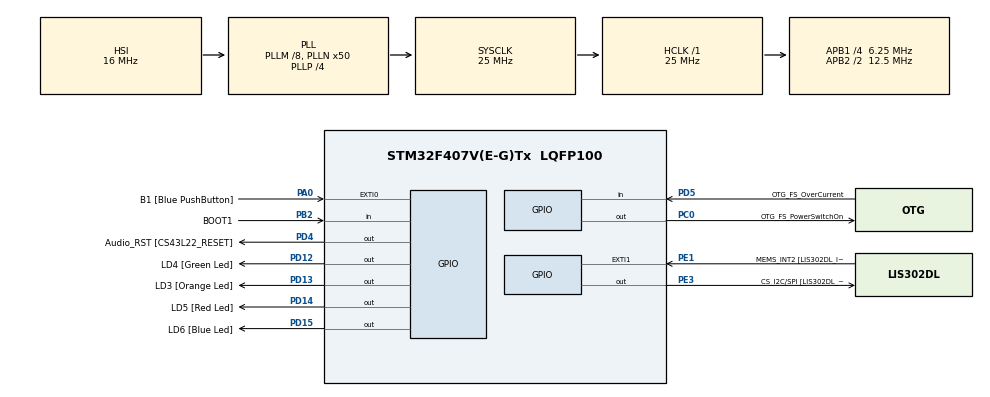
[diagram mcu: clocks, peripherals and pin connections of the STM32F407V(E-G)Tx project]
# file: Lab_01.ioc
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Mcu.Family=STM32F4
Mcu.Name=STM32F407V(E-G)Tx
Mcu.Package=LQFP100
NVIC.PriorityGroup=NVIC_PRIORITYGROUP_0
PA0-WKUP.GPIO_Label=B1 [Blue PushButton]
PA0-WKUP.Signal=GPXTI0
PA10.GPIO_Label=OTG_FS_ID
PA10.GPIO_Mode=GPIO_MODE_AF_PP
PA10.GPIO_PuPd=GPIO_NOPULL
PA10.GPIO_Speed=GPIO_SPEED_FREQ_LOW
PA10.Signal=USB_OTG_FS_ID
PA11.GPIO_Label=OTG_FS_DM
PA11.GPIO_Mode=GPIO_MODE_AF_PP
PA11.GPIO_PuPd=GPIO_NOPULL
PA11.GPIO_Speed=GPIO_SPEED_FREQ_LOW
PA11.Signal=USB_OTG_FS_DM
PA12.GPIO_Label=OTG_FS_DP
PA12.GPIO_Mode=GPIO_MODE_AF_PP
PA12.GPIO_PuPd=GPIO_NOPULL
PA12.GPIO_Speed=GPIO_SPEED_FREQ_LOW
PA12.Signal=USB_OTG_FS_DP
PA13.GPIO_Label=SWDIO
PA13.Signal=SYS_JTMS-SWDIO
PA14.GPIO_Label=SWCLK
PA14.Signal=SYS_JTCK-SWCLK
PA4.GPIO_Label=I2S3_WS [CS43L22_LRCK]
PA4.GPIO_Mode=GPIO_MODE_AF_PP
PA4.GPIO_PuPd=GPIO_NOPULL
PA4.GPIO_Speed=GPIO_SPEED_FREQ_LOW
PA4.Signal=I2S3_WS
PA5.GPIO_Label=SPI1_SCK [LIS302DL_SCL/SPC]
PA5.GPIO_Mode=GPIO_MODE_AF_PP
PA5.GPIO_PuPd=GPIO_NOPULL
PA5.GPIO_Speed=GPIO_SPEED_FREQ_LOW
PA5.Signal=SPI1_SCK
PA6.GPIO_Label=SPI1_MISO [LIS302DL_SDO]
PA6.GPIO_Mode=GPIO_MODE_AF_PP
PA6.GPIO_PuPd=GPIO_NOPULL
PA6.GPIO_Speed=GPIO_SPEED_FREQ_LOW
PA6.Signal=SPI1_MISO
PA7.GPIO_Label=SPI1_MOSI [LIS302DL_SDA/SDI/SDO]
PA7.GPIO_Mode=GPIO_MODE_AF_PP
PA7.GPIO_PuPd=GPIO_NOPULL
PA7.GPIO_Speed=GPIO_SPEED_FREQ_LOW
PA7.Signal=SPI1_MOSI
PA9.GPIO_Label=VBUS_FS
PA9.GPIO_Mode=GPIO_MODE_INPUT
PA9.GPIO_PuPd=GPIO_NOPULL
PA9.Signal=USB_OTG_FS_VBUS
PB10.GPIO_Label=CLK_IN [MP45DT02_CLK]
PB10.GPIO_Mode=GPIO_MODE_AF_PP
PB10.GPIO_PuPd=GPIO_NOPULL
PB10.GPIO_Speed=GPIO_SPEED_FREQ_LOW
PB10.Signal=I2S2_CK
PB2.GPIO_Label=BOOT1
PB2.GPIO_Mode=GPIO_MODE_INPUT
PB2.GPIO_PuPd=GPIO_NOPULL
PB2.Signal=GPIO_Input
PB3.GPIO_Label=SWO
PB3.Signal=SYS_JTDO-SWO
PB6.GPIO_Label=Audio_SCL [CS43L22_SCL]
PB6.GPIO_Mode=GPIO_MODE_AF_OD
PB6.GPIO_PuPd=GPIO_NOPULL
PB6.GPIO_Speed=GPIO_SPEED_FREQ_LOW
PB6.Signal=I2C1_SCL
PB9.GPIO_Label=Audio_SDA [CS43L22_SDA]
PB9.GPIO_Mode=GPIO_MODE_AF_OD
PB9.GPIO_PuPd=GPIO_NOPULL
PB9.GPIO_Speed=GPIO_SPEED_FREQ_LOW
PB9.Signal=I2C1_SDA
PC0.GPIO_Label=OTG_FS_PowerSwitchOn
PC0.GPIO_PuPd=GPIO_NOPULL
PC0.GPIO_Speed=GPIO_SPEED_FREQ_LOW
PC0.PinState=GPIO_PIN_SET
PC0.Signal=GPIO_Output
PC10.GPIO_Label=I2S3_SCK [CS43L22_SCLK]
PC10.GPIO_Mode=GPIO_MODE_AF_PP
PC10.GPIO_PuPd=GPIO_NOPULL
PC10.GPIO_Speed=GPIO_SPEED_FREQ_LOW
PC10.Signal=I2S3_CK
PC12.GPIO_Label=I2S3_SD [CS43L22_SDIN]
PC12.GPIO_Mode=GPIO_MODE_AF_PP
PC12.GPIO_PuPd=GPIO_NOPULL
PC12.GPIO_Speed=GPIO_SPEED_FREQ_LOW
PC12.Signal=I2S3_SD
PC14-OSC32_IN.GPIO_Label=PC14-OSC32_IN
PC14-OSC32_IN.Signal=RCC_OSC32_IN
PC15-OSC32_OUT.GPIO_Label=PC15-OSC32_OUT
PC15-OSC32_OUT.Signal=RCC_OSC32_OUT
PC3.GPIO_Label=PDM_OUT [MP45DT02_DOUT]
PC3.GPIO_Mode=GPIO_MODE_AF_PP
PC3.GPIO_PuPd=GPIO_NOPULL
PC3.GPIO_Speed=GPIO_SPEED_FREQ_LOW
PC3.Signal=I2S2_SD
PC7.GPIO_Label=I2S3_MCK [CS43L22_MCLK]
PC7.GPIO_Mode=GPIO_MODE_AF_PP
PC7.GPIO_PuPd=GPIO_NOPULL
PC7.GPIO_Speed=GPIO_SPEED_FREQ_LOW
PC7.Signal=I2S3_MCK
PD12.GPIO_Label=LD4 [Green Led]
PD12.GPIO_PuPd=GPIO_NOPULL
PD12.GPIO_Speed=GPIO_SPEED_FREQ_LOW
PD12.Signal=GPIO_Output
PD13.GPIO_Label=LD3 [Orange Led]
PD13.GPIO_PuPd=GPIO_NOPULL
PD13.GPIO_Speed=GPIO_SPEED_FREQ_LOW
PD13.Signal=GPIO_Output
PD14.GPIO_Label=LD5 [Red Led]
PD14.GPIO_PuPd=GPIO_NOPULL
PD14.GPIO_Speed=GPIO_SPEED_FREQ_LOW
PD14.Signal=GPIO_Output
PD15.GPIO_Label=LD6 [Blue Led]
PD15.GPIO_PuPd=GPIO_NOPULL
PD15.GPIO_Speed=GPIO_SPEED_FREQ_LOW
PD15.Signal=GPIO_Output
PD4.GPIO_Label=Audio_RST [CS43L22_RESET]
PD4.GPIO_PuPd=GPIO_NOPULL
PD4.GPIO_Speed=GPIO_SPEED_FREQ_LOW
PD4.Signal=GPIO_Output
PD5.GPIO_Label=OTG_FS_OverCurrent
PD5.GPIO_Mode=GPIO_MODE_INPUT
PD5.GPIO_PuPd=GPIO_NOPULL
PD5.Signal=GPIO_Input
PE1.GPIO_Label=MEMS_INT2 [LIS302DL_INT2]
PE1.GPIO_ModeDefaultEXTI=GPIO_MODE_EVT_RISING
PE1.GPIO_PuPd=GPIO_NOPULL
PE1.Signal=GPXTI1
PE3.GPIO_Label=CS_I2C/SPI [LIS302DL_CS_I2C/SPI]
PE3.GPIO_PuPd=GPIO_NOPULL
PE3.GPIO_Speed=GPIO_SPEED_FREQ_LOW
PE3.Signal=GPIO_Output
PH0-OSC_IN.GPIO_Label=PH0-OSC_IN
PH0-OSC_IN.Signal=RCC_OSC_IN
PH1-OSC_OUT.GPIO_Label=PH1-OSC_OUT
PH1-OSC_OUT.Signal=RCC_OSC_OUT
ProjectManager.HeapSize=0x200
ProjectManager.StackSize=0x400
ProjectManager.TargetToolchain=STM32CubeIDE
RCC.48MHZClocksFreq_Value=14285714.285714285
RCC.AHBFreq_Value=25000000
RCC.APB1CLKDivider=RCC_HCLK_DIV4
RCC.APB1Freq_Value=6250000
RCC.APB1TimFreq_Value=12500000
RCC.APB2CLKDivider=RCC_HCLK_DIV2
RCC.APB2Freq_Value=12500000
RCC.APB2TimFreq_Value=25000000
RCC.CortexFreq_Value=25000000
RCC.HCLKFreq_Value=25000000
RCC.HSE_VALUE=8000000
RCC.HSI_VALUE=16000000
RCC.LSE_VALUE=32768
RCC.PLLM=8
RCC.PLLN=50
RCC.PLLP=RCC_PLLP_DIV4
RCC.PLLQ=7
RCC.SYSCLKFreq_VALUE=25000000
RCC.SYSCLKSource=RCC_SYSCLKSOURCE_PLLCLK
RCC.VCOOutputFreq_Value=100000000
board=STM32F407G-DISC1

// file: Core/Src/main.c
/* USER CODE BEGIN Header */
/**
  ******************************************************************************
  * @file           : main.c
  * @brief          : Main program body
  ******************************************************************************
  * @attention
  *
  * <h2><center>&copy; Copyright (c) 2021 STMicroelectronics.
  * All rights reserved.</center></h2>
  *
  * This software component is licensed by ST under BSD 3-Clause license,
  * the "License"; You may not use this file except in compliance with the
  * License. You may obtain a copy of the License at:
  *                        opensource.org/licenses/BSD-3-Clause
  *
  ******************************************************************************
  */
/* USER CODE END Header */
#include "main.h"
#include "gpio.h"

/* USER CODE BEGIN PTD */
typedef struct
{
	GPIO_TypeDef *port;
	uint16_t pin;
} LED_GPIO_t;

enum LED
{
	LED_GREEN,
	LED_ORANGE,
	LED_RED,
	LED_BLUE,
	LED_COUNT
} LED_t;

/* USER CODE END PTD */

/* USER CODE BEGIN PD */
#define COUNT_ELEMENTS(a) (sizeof(a) / sizeof(a[0]))
/* USER CODE END PD */

/* USER CODE BEGIN PV */
char pattern[][LED_COUNT] = {{[LED_GREEN] = 1, [LED_ORANGE] = 1, [LED_RED] = 0, [LED_BLUE] = 0},
							 {[LED_GREEN] = 0, [LED_ORANGE] = 1, [LED_RED] = 1, [LED_BLUE] = 0},
							 {[LED_GREEN] = 0, [LED_ORANGE] = 0, [LED_RED] = 1, [LED_BLUE] = 1},
							 {[LED_GREEN] = 1, [LED_ORANGE] = 0, [LED_RED] = 0, [LED_BLUE] = 1}};
LED_GPIO_t leds[] = {[LED_GREEN] = 	{GPIOD, GPIO_PIN_12},
					 [LED_ORANGE] = {GPIOD, GPIO_PIN_13},
					 [LED_RED] = 	{GPIOD, GPIO_PIN_14},
					 [LED_BLUE] = 	{GPIOD, GPIO_PIN_15}};

int delay = 400;

/* USER CODE END PV */

void SystemClock_Config(void);
/* USER CODE BEGIN PFP */
void LED_Show_Next_Frame(void);
/* USER CODE END PFP */

int main(void)
{

  /* MCU Configuration--------------------------------------------------------*/

  /* Reset of all peripherals, Initializes the Flash interface and the Systick. */
  HAL_Init();

  /* Configure the system clock */
  SystemClock_Config();

  /* Initialize all configured peripherals */
  MX_GPIO_Init();

  /* Infinite loop */
  /* USER CODE BEGIN WHILE */
  while (1)
  {
	  LED_Show_Next_Frame();
	  HAL_Delay(delay);
	  /* USER CODE END WHILE */

  }
}

void SystemClock_Config(void)
{
  RCC_OscInitTypeDef RCC_OscInitStruct = {0};
  RCC_ClkInitTypeDef RCC_ClkInitStruct = {0};

  /** Configure the main internal regulator output voltage
  */
  __HAL_RCC_PWR_CLK_ENABLE();
  __HAL_PWR_VOLTAGESCALING_CONFIG(PWR_REGULATOR_VOLTAGE_SCALE1);
  /** Initializes the RCC Oscillators according to the specified parameters
  * in the RCC_OscInitTypeDef structure.
  */
  RCC_OscInitStruct.OscillatorType = RCC_OSCILLATORTYPE_HSI;
  RCC_OscInitStruct.HSIState = RCC_HSI_ON;
  RCC_OscInitStruct.HSICalibrationValue = RCC_HSICALIBRATION_DEFAULT;
  RCC_OscInitStruct.PLL.PLLState = RCC_PLL_ON;
  RCC_OscInitStruct.PLL.PLLSource = RCC_PLLSOURCE_HSI;
  RCC_OscInitStruct.PLL.PLLM = 8;
  RCC_OscInitStruct.PLL.PLLN = 50;
  RCC_OscInitStruct.PLL.PLLP = RCC_PLLP_DIV4;
  RCC_OscInitStruct.PLL.PLLQ = 7;
  if (HAL_RCC_OscConfig(&RCC_OscInitStruct) != HAL_OK)
  {
    Error_Handler();
  }
  /** Initializes the CPU, AHB and APB buses clocks
  */
  RCC_ClkInitStruct.ClockType = RCC_CLOCKTYPE_HCLK|RCC_CLOCKTYPE_SYSCLK
                              |RCC_CLOCKTYPE_PCLK1|RCC_CLOCKTYPE_PCLK2;
  RCC_ClkInitStruct.SYSCLKSource = RCC_SYSCLKSOURCE_PLLCLK;
  RCC_ClkInitStruct.AHBCLKDivider = RCC_SYSCLK_DIV1;
  RCC_ClkInitStruct.APB1CLKDivider = RCC_HCLK_DIV4;
  RCC_ClkInitStruct.APB2CLKDivider = RCC_HCLK_DIV2;

  if (HAL_RCC_ClockConfig(&RCC_ClkInitStruct, FLASH_LATENCY_0) != HAL_OK)
  {
    Error_Handler();
  }
}

/* USER CODE BEGIN 4 */
void LED_Show_Next_Frame(void)
{
	static int frame_index= 0;
	static int frame_count = COUNT_ELEMENTS(pattern);

	for(int i = 0; i < LED_COUNT; i++)
	{
		HAL_GPIO_WritePin(leds[i].port, leds[i].pin, pattern[frame_index][i]);
	}

	frame_index = (frame_index + 1) % frame_count;
}
/* USER CODE END 4 */

void Error_Handler(void)
{
  __disable_irq();
  while (1)
  {
  }
}

/************************ (C) COPYRIGHT STMicroelectronics *****END OF FILE****/
